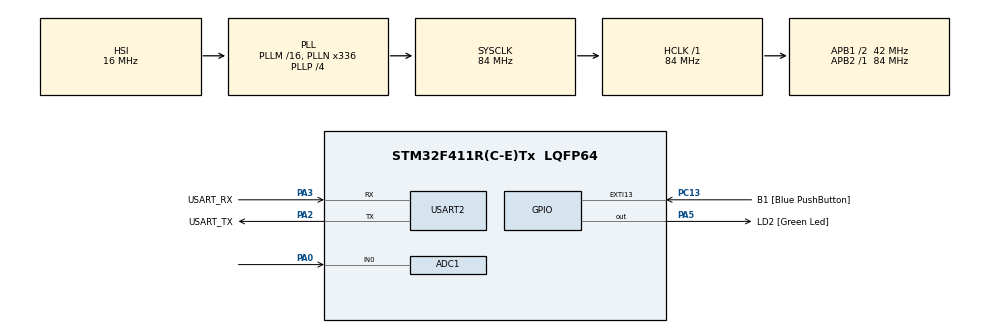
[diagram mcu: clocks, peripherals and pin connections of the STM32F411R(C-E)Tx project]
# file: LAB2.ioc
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ADC1.Channel-0\#ChannelRegularConversion=ADC_CHANNEL_0
ADC1.Channel-1\#ChannelRegularConversion=ADC_CHANNEL_TEMPSENSOR
ADC1.ContinuousConvMode=ENABLE
ADC1.DMAContinuousRequests=ENABLE
ADC1.EOCSelection=ADC_EOC_SEQ_CONV
ADC1.InjNumberOfConversion=0
ADC1.NbrOfConversion=2
ADC1.NbrOfConversionFlag=1
ADC1.Rank-0\#ChannelRegularConversion=1
ADC1.Rank-1\#ChannelRegularConversion=2
ADC1.SamplingTime-0\#ChannelRegularConversion=ADC_SAMPLETIME_56CYCLES
ADC1.SamplingTime-1\#ChannelRegularConversion=ADC_SAMPLETIME_56CYCLES
ADC1.ScanConvMode=ENABLE
ADC1.master=1
Dma.ADC1.0.Direction=DMA_PERIPH_TO_MEMORY
Dma.ADC1.0.FIFOMode=DMA_FIFOMODE_DISABLE
Dma.ADC1.0.Instance=DMA2_Stream0
Dma.ADC1.0.MemDataAlignment=DMA_MDATAALIGN_HALFWORD
Dma.ADC1.0.MemInc=DMA_MINC_ENABLE
Dma.ADC1.0.Mode=DMA_CIRCULAR
Dma.ADC1.0.PeriphDataAlignment=DMA_PDATAALIGN_HALFWORD
Dma.ADC1.0.PeriphInc=DMA_PINC_DISABLE
Dma.ADC1.0.Priority=DMA_PRIORITY_LOW
Dma.Request0=ADC1
Mcu.Family=STM32F4
Mcu.Name=STM32F411R(C-E)Tx
Mcu.Package=LQFP64
NVIC.ADC_IRQn=true\:0\:0\:false\:false\:true\:true\:true\:true
NVIC.DMA2_Stream0_IRQn=true\:0\:0\:false\:false\:true\:false\:true\:true
NVIC.PriorityGroup=NVIC_PRIORITYGROUP_0
PA0-WKUP.Signal=ADCx_IN0
PA13.GPIO_Label=TMS
PA13.Mode=Serial_Wire
PA13.Signal=SYS_JTMS-SWDIO
PA14.GPIO_Label=TCK
PA14.Mode=Serial_Wire
PA14.Signal=SYS_JTCK-SWCLK
PA2.GPIO_Label=USART_TX
PA2.Mode=Asynchronous
PA2.Signal=USART2_TX
PA3.GPIO_Label=USART_RX
PA3.Mode=Asynchronous
PA3.Signal=USART2_RX
PA5.GPIO_Label=LD2 [Green Led]
PA5.Signal=GPIO_Output
PB3.GPIO_Label=SWO
PB3.Signal=SYS_JTDO-SWO
PC13-ANTI_TAMP.GPIO_Label=B1 [Blue PushButton]
PC13-ANTI_TAMP.GPIO_ModeDefaultEXTI=GPIO_MODE_IT_FALLING
PC13-ANTI_TAMP.Signal=GPXTI13
PC14-OSC32_IN.Mode=LSE-External-Oscillator
PC14-OSC32_IN.Signal=RCC_OSC32_IN
PC15-OSC32_OUT.Mode=LSE-External-Oscillator
PC15-OSC32_OUT.Signal=RCC_OSC32_OUT
PH0\ -\ OSC_IN.Mode=HSE-External-Clock-Source
PH0\ -\ OSC_IN.Signal=RCC_OSC_IN
PH1\ -\ OSC_OUT.Mode=HSE-External-Clock-Source
PH1\ -\ OSC_OUT.Signal=RCC_OSC_OUT
ProjectManager.HeapSize=0x200
ProjectManager.StackSize=0x400
ProjectManager.TargetToolchain=STM32CubeIDE
RCC.48MHZClocksFreq_Value=84000000
RCC.AHBFreq_Value=84000000
RCC.APB1CLKDivider=RCC_HCLK_DIV2
RCC.APB1Freq_Value=42000000
RCC.APB1TimFreq_Value=84000000
RCC.APB2Freq_Value=84000000
RCC.APB2TimFreq_Value=84000000
RCC.CortexFreq_Value=84000000
RCC.FLatency-AdvancedSettings=FLASH_LATENCY_2
RCC.HCLKFreq_Value=84000000
RCC.HSE_VALUE=8000000
RCC.HSI_VALUE=16000000
RCC.PLLN=336
RCC.PLLP=RCC_PLLP_DIV4
RCC.SYSCLKFreq_VALUE=84000000
RCC.SYSCLKSource=RCC_SYSCLKSOURCE_PLLCLK
RCC.VCOOutputFreq_Value=336000000
SH.ADCx_IN0.0=ADC1_IN0,IN0
USART2.VirtualMode=VM_ASYNC
VP_ADC1_TempSens_Input.Mode=IN-TempSens
board=NUCLEO-F411RE

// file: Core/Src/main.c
/* USER CODE BEGIN Header */
/**
  ******************************************************************************
  * @file           : main.c
  * @brief          : Main program body
  ******************************************************************************
  * @attention
  *
  * Copyright (c) 2023 STMicroelectronics.
  * All rights reserved.
  *
  * This software is licensed under terms that can be found in the LICENSE file
  * in the root directory of this software component.
  * If no LICENSE file comes with this software, it is provided AS-IS.
  *
  ******************************************************************************
  */
/* USER CODE END Header */
#include "main.h"

ADC_HandleTypeDef hadc1;
DMA_HandleTypeDef hdma_adc1;

UART_HandleTypeDef huart2;

/* USER CODE BEGIN PV */
uint16_t adcRawData[20];
uint16_t temperature=0;
uint16_t Temp=0;
uint16_t voltage=0;
uint16_t Volt=0;
uint32_t timestamp=0;
uint16_t count=0;
double Volt_V=0;
double Volt_mV=0;
double Temp_C=0;
double Temp_K=0;
/* USER CODE END PV */

void SystemClock_Config(void);
static void MX_GPIO_Init(void);
static void MX_DMA_Init(void);
static void MX_USART2_UART_Init(void);
static void MX_ADC1_Init(void);

int main(void)
{

  /* MCU Configuration--------------------------------------------------------*/

  /* Reset of all peripherals, Initializes the Flash interface and the Systick. */
  HAL_Init();

  /* Configure the system clock */
  SystemClock_Config();

  /* Initialize all configured peripherals */
  MX_GPIO_Init();
  MX_DMA_Init();
  MX_USART2_UART_Init();
  MX_ADC1_Init();
  /* USER CODE BEGIN 2 */
  HAL_ADC_Start_DMA(&hadc1, adcRawData, 20);	// start DMA to read
  /* USER CODE END 2 */

  /* Infinite loop */
  while (1)
  {

    /* USER CODE BEGIN 3 */
	  if(HAL_GetTick()>=timestamp){
		  timestamp = HAL_GetTick()+1000;		// 1 Hz = 1000 msec
		  register int i;
		  count=0;
		  voltage = 0;
		  temperature = 0;
		  for(i=1;i<=10;i++)
		  {
			  voltage += adcRawData[(2*i)-2];	// sum of voltage 10 value
			  temperature += adcRawData[(2*i)-1];	// sum of temperature 10 value
			  count++;

		  }

		  Volt = voltage/10;		// average voltage
		  Temp = temperature/10;	// average temperature

		  Volt_V = (Volt*3.3*2)/4095;	// Volt in V
		  Volt_mV = Volt_V*1000;		// Volt in mV
		  Temp_C = ((((Temp*3.3)/4095)-0.76)/0.0025)+25;	// Temp in C
		  Temp_K = Temp_C + 273.15;			// change C to K
	  }
  }
  /* USER CODE END 3 */
}

void SystemClock_Config(void)
{
  RCC_OscInitTypeDef RCC_OscInitStruct = {0};
  RCC_ClkInitTypeDef RCC_ClkInitStruct = {0};

  /** Configure the main internal regulator output voltage
  */
  __HAL_RCC_PWR_CLK_ENABLE();
  __HAL_PWR_VOLTAGESCALING_CONFIG(PWR_REGULATOR_VOLTAGE_SCALE1);

  /** Initializes the RCC Oscillators according to the specified parameters
  * in the RCC_OscInitTypeDef structure.
  */
  RCC_OscInitStruct.OscillatorType = RCC_OSCILLATORTYPE_HSI;
  RCC_OscInitStruct.HSIState = RCC_HSI_ON;
  RCC_OscInitStruct.HSICalibrationValue = RCC_HSICALIBRATION_DEFAULT;
  RCC_OscInitStruct.PLL.PLLState = RCC_PLL_ON;
  RCC_OscInitStruct.PLL.PLLSource = RCC_PLLSOURCE_HSI;
  RCC_OscInitStruct.PLL.PLLM = 16;
  RCC_OscInitStruct.PLL.PLLN = 336;
  RCC_OscInitStruct.PLL.PLLP = RCC_PLLP_DIV4;
  RCC_OscInitStruct.PLL.PLLQ = 4;
  if (HAL_RCC_OscConfig(&RCC_OscInitStruct) != HAL_OK)
  {
    Error_Handler();
  }

  /** Initializes the CPU, AHB and APB buses clocks
  */
  RCC_ClkInitStruct.ClockType = RCC_CLOCKTYPE_HCLK|RCC_CLOCKTYPE_SYSCLK
                              |RCC_CLOCKTYPE_PCLK1|RCC_CLOCKTYPE_PCLK2;
  RCC_ClkInitStruct.SYSCLKSource = RCC_SYSCLKSOURCE_PLLCLK;
  RCC_ClkInitStruct.AHBCLKDivider = RCC_SYSCLK_DIV1;
  RCC_ClkInitStruct.APB1CLKDivider = RCC_HCLK_DIV2;
  RCC_ClkInitStruct.APB2CLKDivider = RCC_HCLK_DIV1;

  if (HAL_RCC_ClockConfig(&RCC_ClkInitStruct, FLASH_LATENCY_2) != HAL_OK)
  {
    Error_Handler();
  }
}

static void MX_ADC1_Init(void)
{

  ADC_ChannelConfTypeDef sConfig = {0};

  /** Configure the global features of the ADC (Clock, Resolution, Data Alignment and number of conversion)
  */
  hadc1.Instance = ADC1;
  hadc1.Init.ClockPrescaler = ADC_CLOCK_SYNC_PCLK_DIV4;
  hadc1.Init.Resolution = ADC_RESOLUTION_12B;
  hadc1.Init.ScanConvMode = ENABLE;
  hadc1.Init.ContinuousConvMode = ENABLE;
  hadc1.Init.DiscontinuousConvMode = DISABLE;
  hadc1.Init.ExternalTrigConvEdge = ADC_EXTERNALTRIGCONVEDGE_NONE;
  hadc1.Init.ExternalTrigConv = ADC_SOFTWARE_START;
  hadc1.Init.DataAlign = ADC_DATAALIGN_RIGHT;
  hadc1.Init.NbrOfConversion = 2;
  hadc1.Init.DMAContinuousRequests = ENABLE;
  hadc1.Init.EOCSelection = ADC_EOC_SEQ_CONV;
  if (HAL_ADC_Init(&hadc1) != HAL_OK)
  {
    Error_Handler();
  }

  /** Configure for the selected ADC regular channel its corresponding rank in the sequencer and its sample time.
  */
  sConfig.Channel = ADC_CHANNEL_0;
  sConfig.Rank = 1;
  sConfig.SamplingTime = ADC_SAMPLETIME_56CYCLES;
  if (HAL_ADC_ConfigChannel(&hadc1, &sConfig) != HAL_OK)
  {
    Error_Handler();
  }

  /** Configure for the selected ADC regular channel its corresponding rank in the sequencer and its sample time.
  */
  sConfig.Channel = ADC_CHANNEL_TEMPSENSOR;
  sConfig.Rank = 2;
  if (HAL_ADC_ConfigChannel(&hadc1, &sConfig) != HAL_OK)
  {
    Error_Handler();
  }

}

static void MX_USART2_UART_Init(void)
{

  huart2.Instance = USART2;
  huart2.Init.BaudRate = 115200;
  huart2.Init.WordLength = UART_WORDLENGTH_8B;
  huart2.Init.StopBits = UART_STOPBITS_1;
  huart2.Init.Parity = UART_PARITY_NONE;
  huart2.Init.Mode = UART_MODE_TX_RX;
  huart2.Init.HwFlowCtl = UART_HWCONTROL_NONE;
  huart2.Init.OverSampling = UART_OVERSAMPLING_16;
  if (HAL_UART_Init(&huart2) != HAL_OK)
  {
    Error_Handler();
  }

}

static void MX_DMA_Init(void)
{

  /* DMA controller clock enable */
  __HAL_RCC_DMA2_CLK_ENABLE();

  /* DMA interrupt init */
  /* DMA2_Stream0_IRQn interrupt configuration */
  HAL_NVIC_SetPriority(DMA2_Stream0_IRQn, 0, 0);
  HAL_NVIC_EnableIRQ(DMA2_Stream0_IRQn);

}

static void MX_GPIO_Init(void)
{
  GPIO_InitTypeDef GPIO_InitStruct = {0};

  /* GPIO Ports Clock Enable */
  __HAL_RCC_GPIOC_CLK_ENABLE();
  __HAL_RCC_GPIOH_CLK_ENABLE();
  __HAL_RCC_GPIOA_CLK_ENABLE();
  __HAL_RCC_GPIOB_CLK_ENABLE();

  /*Configure GPIO pin Output Level */
  HAL_GPIO_WritePin(LD2_GPIO_Port, LD2_Pin, GPIO_PIN_RESET);

  /*Configure GPIO pin : B1_Pin */
  GPIO_InitStruct.Pin = B1_Pin;
  GPIO_InitStruct.Mode = GPIO_MODE_IT_FALLING;
  GPIO_InitStruct.Pull = GPIO_NOPULL;
  HAL_GPIO_Init(B1_GPIO_Port, &GPIO_InitStruct);

  /*Configure GPIO pin : LD2_Pin */
  GPIO_InitStruct.Pin = LD2_Pin;
  GPIO_InitStruct.Mode = GPIO_MODE_OUTPUT_PP;
  GPIO_InitStruct.Pull = GPIO_NOPULL;
  GPIO_InitStruct.Speed = GPIO_SPEED_FREQ_LOW;
  HAL_GPIO_Init(LD2_GPIO_Port, &GPIO_InitStruct);

}

void Error_Handler(void)
{
  __disable_irq();
  while (1)
  {
  }
}
